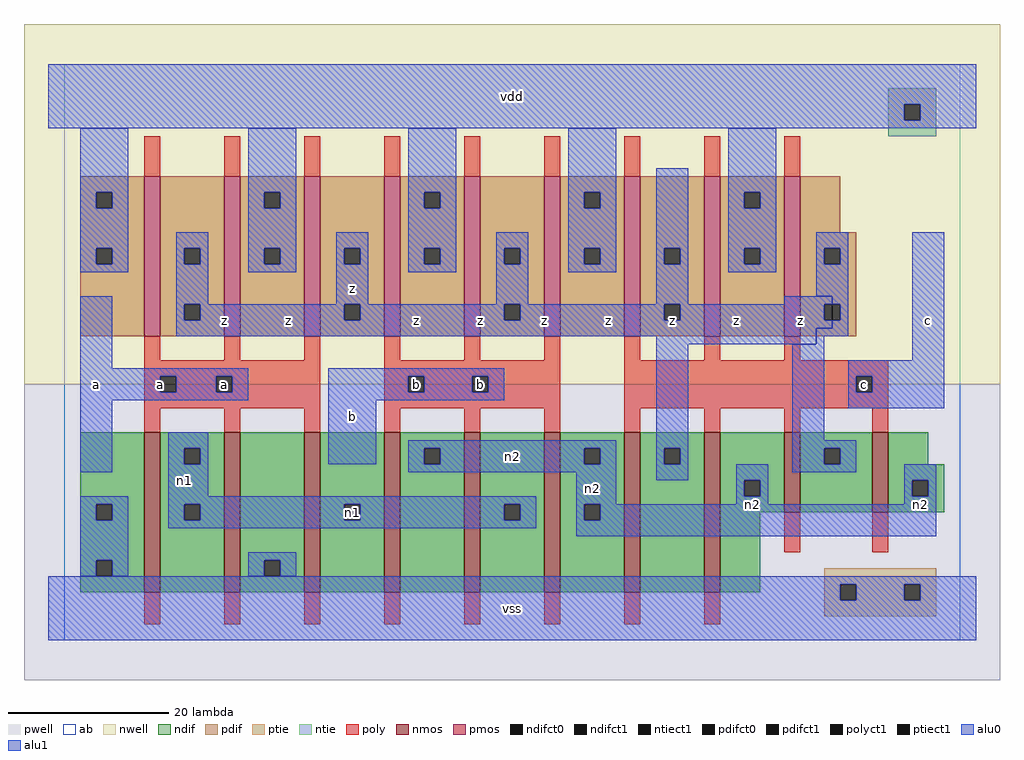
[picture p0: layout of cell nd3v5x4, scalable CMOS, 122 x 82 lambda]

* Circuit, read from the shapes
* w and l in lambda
.subckt nd3v5x4 a b c n1 n2 vdd vss z
M1 n1 a vss vss nfet w=20 l=2 m=3
M2 n2 b n1 vss nfet w=20 l=2 m=3
M3 z c n2 vss nfet w=20 l=2 m=2
M4 z c n2 vss nfet w=10 l=2 m=2
M5 z a vdd vdd pfet w=20 l=2 m=3
M6 vdd b z vdd pfet w=20 l=2 m=3
M7 z c vdd vdd pfet w=20 l=2 m=3
.ends

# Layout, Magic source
magic
tech scmos
<< ab >>
rect 0 0 112 72
<< nwell >>
rect -5 32 117 77
<< pwell >>
rect -5 -5 117 32
<< poly >>
rect 10 58 12 63
rect 20 58 22 63
rect 30 58 32 63
rect 40 58 42 63
rect 50 58 52 63
rect 60 58 62 63
rect 70 58 72 63
rect 80 58 82 63
rect 90 58 92 63
rect 10 35 12 38
rect 20 35 22 38
rect 30 35 32 38
rect 10 33 32 35
rect 10 31 12 33
rect 14 31 19 33
rect 21 31 32 33
rect 10 29 32 31
rect 10 26 12 29
rect 20 26 22 29
rect 30 26 32 29
rect 40 35 42 38
rect 50 35 52 38
rect 60 35 62 38
rect 40 33 62 35
rect 40 31 43 33
rect 45 31 51 33
rect 53 31 62 33
rect 40 29 62 31
rect 40 26 42 29
rect 50 26 52 29
rect 60 26 62 29
rect 70 35 72 38
rect 80 35 82 38
rect 90 35 92 38
rect 70 33 103 35
rect 70 31 99 33
rect 101 31 103 33
rect 70 29 103 31
rect 70 26 72 29
rect 80 26 82 29
rect 90 26 92 29
rect 101 26 103 29
rect 90 11 92 16
rect 101 11 103 16
rect 10 2 12 6
rect 20 2 22 6
rect 30 2 32 6
rect 40 2 42 6
rect 50 2 52 6
rect 60 2 62 6
rect 70 2 72 6
rect 80 2 82 6
<< ndif >>
rect 2 17 10 26
rect 2 15 4 17
rect 6 15 10 17
rect 2 10 10 15
rect 2 8 4 10
rect 6 8 10 10
rect 2 6 10 8
rect 12 24 20 26
rect 12 22 15 24
rect 17 22 20 24
rect 12 17 20 22
rect 12 15 15 17
rect 17 15 20 17
rect 12 6 20 15
rect 22 10 30 26
rect 22 8 25 10
rect 27 8 30 10
rect 22 6 30 8
rect 32 17 40 26
rect 32 15 35 17
rect 37 15 40 17
rect 32 6 40 15
rect 42 24 50 26
rect 42 22 45 24
rect 47 22 50 24
rect 42 6 50 22
rect 52 17 60 26
rect 52 15 55 17
rect 57 15 60 17
rect 52 6 60 15
rect 62 24 70 26
rect 62 22 65 24
rect 67 22 70 24
rect 62 17 70 22
rect 62 15 65 17
rect 67 15 70 17
rect 62 6 70 15
rect 72 24 80 26
rect 72 22 75 24
rect 77 22 80 24
rect 72 6 80 22
rect 82 20 90 26
rect 82 18 85 20
rect 87 18 90 20
rect 82 16 90 18
rect 92 24 101 26
rect 92 22 95 24
rect 97 22 101 24
rect 92 16 101 22
rect 103 22 108 26
rect 103 20 110 22
rect 103 18 106 20
rect 108 18 110 20
rect 103 16 110 18
rect 82 6 87 16
<< pdif >>
rect 2 56 10 58
rect 2 54 4 56
rect 6 54 10 56
rect 2 49 10 54
rect 2 47 4 49
rect 6 47 10 49
rect 2 38 10 47
rect 12 49 20 58
rect 12 47 15 49
rect 17 47 20 49
rect 12 42 20 47
rect 12 40 15 42
rect 17 40 20 42
rect 12 38 20 40
rect 22 56 30 58
rect 22 54 25 56
rect 27 54 30 56
rect 22 49 30 54
rect 22 47 25 49
rect 27 47 30 49
rect 22 38 30 47
rect 32 49 40 58
rect 32 47 35 49
rect 37 47 40 49
rect 32 42 40 47
rect 32 40 35 42
rect 37 40 40 42
rect 32 38 40 40
rect 42 56 50 58
rect 42 54 45 56
rect 47 54 50 56
rect 42 49 50 54
rect 42 47 45 49
rect 47 47 50 49
rect 42 38 50 47
rect 52 49 60 58
rect 52 47 55 49
rect 57 47 60 49
rect 52 42 60 47
rect 52 40 55 42
rect 57 40 60 42
rect 52 38 60 40
rect 62 56 70 58
rect 62 54 65 56
rect 67 54 70 56
rect 62 49 70 54
rect 62 47 65 49
rect 67 47 70 49
rect 62 38 70 47
rect 72 49 80 58
rect 72 47 75 49
rect 77 47 80 49
rect 72 42 80 47
rect 72 40 75 42
rect 77 40 80 42
rect 72 38 80 40
rect 82 56 90 58
rect 82 54 85 56
rect 87 54 90 56
rect 82 49 90 54
rect 82 47 85 49
rect 87 47 90 49
rect 82 38 90 47
rect 92 51 97 58
rect 92 49 99 51
rect 92 47 95 49
rect 97 47 99 49
rect 92 42 99 47
rect 92 40 95 42
rect 97 40 99 42
rect 92 38 99 40
<< alu1 >>
rect -2 67 114 72
rect -2 65 105 67
rect 107 65 114 67
rect -2 64 114 65
rect 14 49 18 51
rect 14 47 15 49
rect 17 47 18 49
rect 2 34 6 43
rect 14 42 18 47
rect 34 49 38 51
rect 34 47 35 49
rect 37 47 38 49
rect 34 42 38 47
rect 54 49 58 51
rect 54 47 55 49
rect 57 47 58 49
rect 54 42 58 47
rect 74 49 78 59
rect 74 47 75 49
rect 77 47 78 49
rect 74 42 78 47
rect 90 42 96 43
rect 14 40 15 42
rect 17 40 35 42
rect 37 40 55 42
rect 57 40 75 42
rect 77 40 95 42
rect 14 39 96 40
rect 14 38 94 39
rect 74 37 94 38
rect 2 33 23 34
rect 2 31 12 33
rect 14 31 19 33
rect 21 31 23 33
rect 2 30 23 31
rect 33 33 55 34
rect 33 31 43 33
rect 45 31 51 33
rect 53 31 55 33
rect 33 30 55 31
rect 2 21 6 30
rect 33 22 39 30
rect 74 24 78 37
rect 74 22 75 24
rect 77 22 78 24
rect 106 35 110 51
rect 98 33 110 35
rect 98 31 99 33
rect 101 31 110 33
rect 98 29 110 31
rect 74 20 78 22
rect -2 7 114 8
rect -2 5 97 7
rect 99 5 105 7
rect 107 5 114 7
rect -2 0 114 5
<< ptie >>
rect 95 7 109 9
rect 95 5 97 7
rect 99 5 105 7
rect 107 5 109 7
rect 95 3 109 5
<< ntie >>
rect 103 67 109 69
rect 103 65 105 67
rect 107 65 109 67
rect 103 63 109 65
<< nmos >>
rect 10 6 12 26
rect 20 6 22 26
rect 30 6 32 26
rect 40 6 42 26
rect 50 6 52 26
rect 60 6 62 26
rect 70 6 72 26
rect 80 6 82 26
rect 90 16 92 26
rect 101 16 103 26
<< pmos >>
rect 10 38 12 58
rect 20 38 22 58
rect 30 38 32 58
rect 40 38 42 58
rect 50 38 52 58
rect 60 38 62 58
rect 70 38 72 58
rect 80 38 82 58
rect 90 38 92 58
<< polyct1 >>
rect 12 31 14 33
rect 19 31 21 33
rect 43 31 45 33
rect 51 31 53 33
rect 99 31 101 33
<< ndifct0 >>
rect 4 15 6 17
rect 4 8 6 10
rect 15 22 17 24
rect 15 15 17 17
rect 25 8 27 10
rect 35 15 37 17
rect 45 22 47 24
rect 55 15 57 17
rect 65 22 67 24
rect 65 15 67 17
rect 85 18 87 20
rect 95 22 97 24
rect 106 18 108 20
<< ndifct1 >>
rect 75 22 77 24
<< ntiect1 >>
rect 105 65 107 67
<< ptiect1 >>
rect 97 5 99 7
rect 105 5 107 7
<< pdifct0 >>
rect 4 54 6 56
rect 4 47 6 49
rect 25 54 27 56
rect 25 47 27 49
rect 45 54 47 56
rect 45 47 47 49
rect 65 54 67 56
rect 65 47 67 49
rect 85 54 87 56
rect 85 47 87 49
rect 95 47 97 49
rect 96 40 97 42
<< pdifct1 >>
rect 15 47 17 49
rect 15 40 17 42
rect 35 47 37 49
rect 35 40 37 42
rect 55 47 57 49
rect 55 40 57 42
rect 75 47 77 49
rect 75 40 77 42
rect 95 40 96 42
<< alu0 >>
rect 2 56 8 64
rect 2 54 4 56
rect 6 54 8 56
rect 2 49 8 54
rect 23 56 29 64
rect 23 54 25 56
rect 27 54 29 56
rect 2 47 4 49
rect 6 47 8 49
rect 2 46 8 47
rect 23 49 29 54
rect 43 56 49 64
rect 43 54 45 56
rect 47 54 49 56
rect 23 47 25 49
rect 27 47 29 49
rect 23 46 29 47
rect 43 49 49 54
rect 63 56 69 64
rect 63 54 65 56
rect 67 54 69 56
rect 43 47 45 49
rect 47 47 49 49
rect 43 46 49 47
rect 63 49 69 54
rect 63 47 65 49
rect 67 47 69 49
rect 63 46 69 47
rect 83 56 89 64
rect 83 54 85 56
rect 87 54 89 56
rect 83 49 89 54
rect 83 47 85 49
rect 87 47 89 49
rect 83 46 89 47
rect 94 49 98 51
rect 94 47 95 49
rect 97 47 98 49
rect 94 43 98 47
rect 96 42 98 43
rect 97 40 98 42
rect 96 39 98 40
rect 94 38 98 39
rect 94 37 95 38
rect 13 24 18 26
rect 13 22 15 24
rect 17 22 18 24
rect 43 24 69 25
rect 43 22 45 24
rect 47 22 65 24
rect 67 22 69 24
rect 13 18 18 22
rect 43 21 69 22
rect 2 17 8 18
rect 2 15 4 17
rect 6 15 8 17
rect 2 10 8 15
rect 13 17 59 18
rect 13 15 15 17
rect 17 15 35 17
rect 37 15 55 17
rect 57 15 59 17
rect 13 14 59 15
rect 64 17 69 21
rect 91 25 95 37
rect 91 24 99 25
rect 91 22 95 24
rect 97 22 99 24
rect 84 20 88 22
rect 91 21 99 22
rect 84 18 85 20
rect 87 18 88 20
rect 84 17 88 18
rect 105 20 109 22
rect 105 18 106 20
rect 108 18 109 20
rect 105 17 109 18
rect 64 15 65 17
rect 67 15 109 17
rect 64 13 109 15
rect 2 8 4 10
rect 6 8 8 10
rect 23 10 29 11
rect 23 8 25 10
rect 27 8 29 10
<< labels >>
rlabel alu0 15 20 15 20 6 n1
rlabel ndifct0 36 16 36 16 6 n1
rlabel alu0 66 19 66 19 6 n2
rlabel alu0 56 23 56 23 6 n2
rlabel alu0 107 17 107 17 6 n2
rlabel alu0 86 17 86 17 6 n2
rlabel polyct1 20 32 20 32 6 a
rlabel alu1 12 32 12 32 6 a
rlabel alu1 4 32 4 32 6 a
rlabel alu1 20 40 20 40 6 z
rlabel polyct1 44 32 44 32 6 b
rlabel polyct1 52 32 52 32 6 b
rlabel alu1 36 28 36 28 6 b
rlabel alu1 44 40 44 40 6 z
rlabel alu1 52 40 52 40 6 z
rlabel alu1 28 40 28 40 6 z
rlabel alu1 36 44 36 44 6 z
rlabel alu1 56 4 56 4 6 vss
rlabel alu1 68 40 68 40 6 z
rlabel alu1 76 40 76 40 6 z
rlabel alu1 60 40 60 40 6 z
rlabel alu1 56 68 56 68 6 vdd
rlabel polyct1 100 32 100 32 6 c
rlabel alu1 92 40 92 40 6 z
rlabel alu1 108 40 108 40 6 c
rlabel alu1 84 40 84 40 6 z
<< end >>
